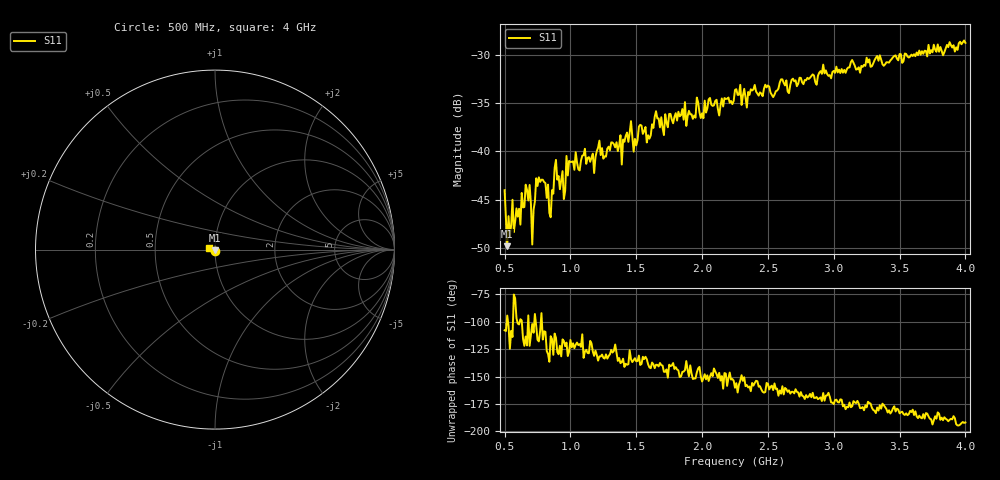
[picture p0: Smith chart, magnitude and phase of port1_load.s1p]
!Agilent Technologies,E8363C,MY49030273,A.09.42.18
!Agilent E8363C: A.09.42.18
!Date: Tuesday, May 03, 2022 03:56:45
!Correction: S11(Full 2 Port(1,2))
!S1P File: Measurement: S11:
!Created with skrf (http://scikit-rf.org).
# GHz S RI R 50.0
!freq ReS11 ImS11
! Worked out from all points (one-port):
!   351 points, 500 MHz to 4 GHz, reference 50 ohm
!   lowest |S11| = -49.8 dB at 520 MHz (marker M1), VSWR 1.01, Z = 50 - j0.321 ohm
!   |S11| at or under -10 dB: start of sweep to end of sweep
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0.5  -0.00193 -0.006
0.52  -0.000248 -0.00322
0.56  -0.00228 -0.00513
0.57  0.000972 -0.00369
0.69  -0.00355 -0.00569
0.71  -0.000691 -0.00322
0.74  -0.00173 -0.00705
0.83  -0.00429 -0.00519
0.85  -0.0018 -0.00419
0.89  -0.00375 -0.00823
0.92  -0.00337 -0.0054
0.94  -0.00348 -0.0071
0.95  -0.00263 -0.00502
0.97  -0.0046 -0.00829
1.18  -0.00508 -0.00582
1.22  -0.00757 -0.00851
1.38  -0.009 -0.00815
1.39  -0.00624 -0.00586
1.46  -0.01 -0.0103
1.48  -0.00707 -0.00705
1.53  -0.0105 -0.00894
1.58  -0.00777 -0.00797
1.82  -0.0131 -0.00935
2.25  -0.0196 -0.00705
2.69  -0.0229 -0.00662
3.13  -0.0291 -0.00101
3.57  -0.0307 0.0023
4  -0.0358 0.00755
